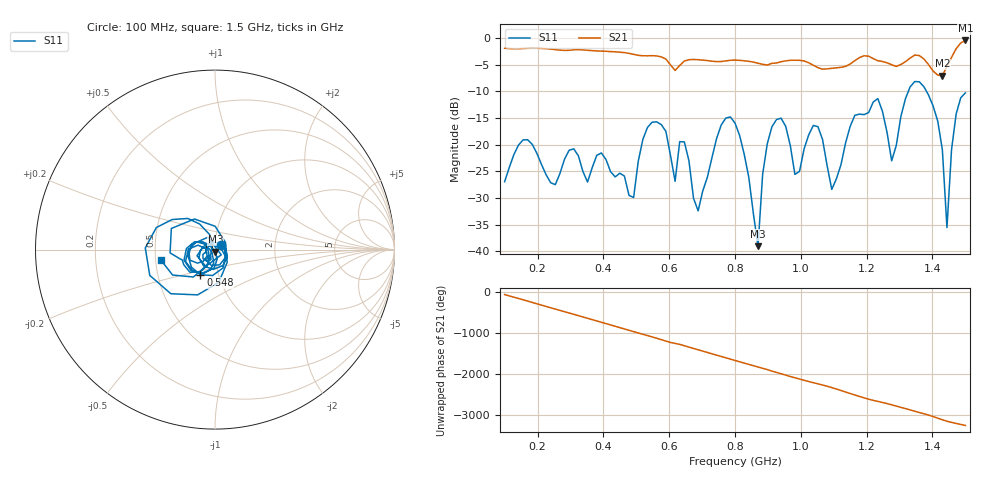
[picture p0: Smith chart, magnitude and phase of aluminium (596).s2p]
! NanoVNA-App
! Date: 2025-09-25 14:59:55
! Start: 100MHz Stop: 1,5GHz Points: 101
! S-Parameter data: F S11 S21 S12 S22
# Hz S RI R 50
!  Frequency  S11_Real  S11_Imag  S21_Real  S21_Imag  S12_Real  S12_Imag  S22_Real  S22_Imag
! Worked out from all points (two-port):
!   101 points, 100 MHz to 1.5 GHz, reference 50 ohm
!   highest |S21| = -0.46 dB at 1.5 GHz (marker M1); lowest = -7.1 dB at 1.43 GHz (marker M2)
!   |S21| within 3 dB of the highest: start of sweep to 569.8 MHz; 1.459 GHz to end of sweep (the widest 2 of 4)
!   lowest |S11| = -39.0 dB at 870 MHz (marker M3), VSWR 1.02, Z = 50.2 - j1.1 ohm
!   |S11| at or under -10 dB: start of sweep to 1.327 GHz; 1.382 GHz to end of sweep
!   S12 and S22 are empty: the file has one direction only
!   S11 on the Smith chart (normalised r, x): 100 MHz: 1.07, +0.06; 548 MHz: 0.82, -0.24; 1.5 GHz: 0.54, -0.07
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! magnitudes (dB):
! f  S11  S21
! 100 MHz  -27.0  -1.9
! 156 MHz  -19.1  -2.0
! 338 MHz  -25.0  -2.2
! 492 MHz  -29.9  -3.1
! 548 MHz  -15.8  -3.3
! 576 MHz  -16.2  -3.5
! 618 MHz  -26.9  -6.1
! 646 MHz  -19.5  -4.3
! 688 MHz  -32.4  -4.1
! 800 MHz  -16.0  -4.1
! 870 MHz  -39.0  -4.7
! 912 MHz  -16.7  -4.7
! 982 MHz  -25.6  -4.2
! 1.038 GHz  -16.4  -5.1
! 1.094 GHz  -28.4  -5.7
! 1.234 GHz  -11.4  -4.3
! 1.276 GHz  -23.0  -5.0
! 1.346 GHz  -8.2  -3.2
! 1.43 GHz  -20.9  -7.1
! 1.444 GHz  -35.6  -5.3
! 1.472 GHz  -14.2  -2.0
! 1.5 GHz  -10.3  -0.5
